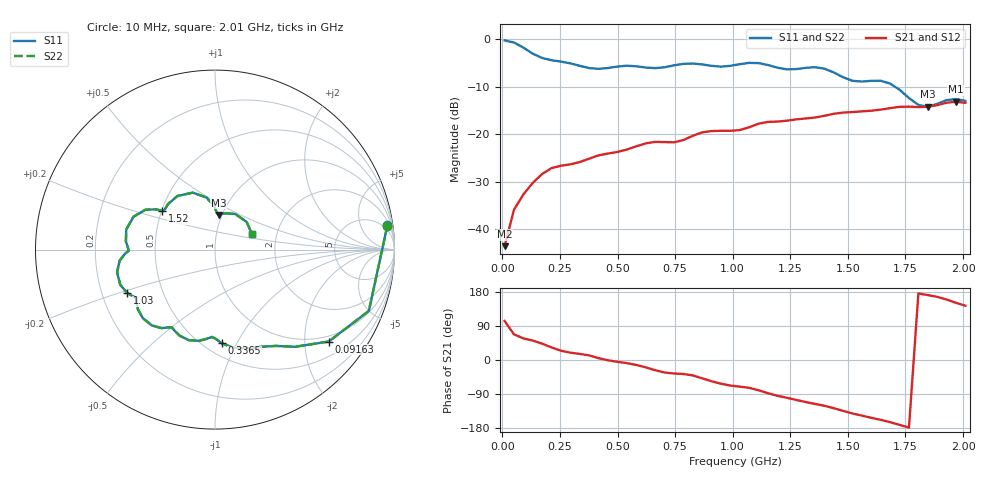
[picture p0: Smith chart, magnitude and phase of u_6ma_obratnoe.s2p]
# MHz S MA R 50
!  freq  S11  S21  S12  S22
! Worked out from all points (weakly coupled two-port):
!   50 points, 10 MHz to 2.01 GHz, reference 50 ohm
!   highest |S21| = -13.18 dB at 1.969 GHz (marker M1); lowest = -43.6 dB at 10 MHz (marker M2)
!   lowest |S11| = -14.2 dB at 1.847 GHz (marker M3), VSWR 1.48, Z = 48.3 + j19.4 ohm
!   |S11| at or under -10 dB: 1.704 GHz to end of sweep
!   |S22| runs from -14.2 to -0.3 dB; largest |S21 - S12| = 0.00078
!   S11 on the Smith chart (normalised r, x): 10 MHz: 3, +14; 91.63 MHz: 0.85, -2.58; 336.5 MHz: 0.61, -0.87; 1.03 GHz: 0.31, -0.21; 1.52 GHz: 0.50, +0.25; 2.01 GHz: 1.49, +0.27
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10  0.9698 8.0  0.0066 102.9  0.00661 103.0  0.9697 8.0
50.81633  0.9229 -21.7  0.016 67.5  0.01602 67.5  0.9227 -21.7
91.63265  0.8149 -38.9  0.02317 57.0  0.02318 57.0  0.8149 -38.9
132.449  0.7025 -50.4  0.03068 51.3  0.03066 51.3  0.7022 -50.4
214.0816  0.6 -64.5  0.04391 33.0  0.04391 33.0  0.5999 -64.5
336.5306  0.5237 -85.8  0.05085 16.0  0.05083 16.0  0.5237 -85.8
377.3469  0.496 -89.7  0.05514 12.1  0.05514 12.0  0.4961 -89.7
540.6122  0.5256 -106.2  0.06879 -8.3  0.06889 -8.3  0.5252 -106.2
703.8776  0.5056 -121.0  0.08241 -32.9  0.08239 -32.8  0.5055 -121.0
826.3265  0.5547 -136.4  0.09595 -40.6  0.0961 -40.7  0.5548 -136.5
1030.408  0.5455 -153.6  0.1101 -70.3  0.1102 -70.5  0.5451 -153.7
1112.041  0.5601 -167.1  0.1287 -79.9  0.1288 -79.7  0.5597 -166.9
1234.49  0.4814 -179.1  0.1384 -99.5  0.1384 -99.5  0.4815 -179.1
1356.939  0.5072 167.2  0.1495 -115.8  0.1495 -115.8  0.5068 167.2
1438.571  0.4469 150.2  0.1638 -127.2  0.1638 -127.1  0.447 150.2
1520.204  0.3641 143.9  0.1708 -141.1  0.1709 -141.0  0.3649 143.8
1601.837  0.3642 135.6  0.1764 -152.6  0.1765 -152.7  0.3646 135.7
1683.469  0.3407 111.4  0.1878 -164.1  0.1877 -164.0  0.3407 111.4
1765.102  0.2398 90.8  0.1948 -178.3  0.1948 -178.4  0.2397 90.8
1846.735  0.1941 84.0  0.1943 171.3  0.1944 171.4  0.1942 84.1
1969.184  0.2343 41.4  0.2193 150.8  0.2194 150.9  0.2345 41.4
2010  0.2238 23.0  0.2135 143.3  0.2135 143.2  0.2236 22.9
